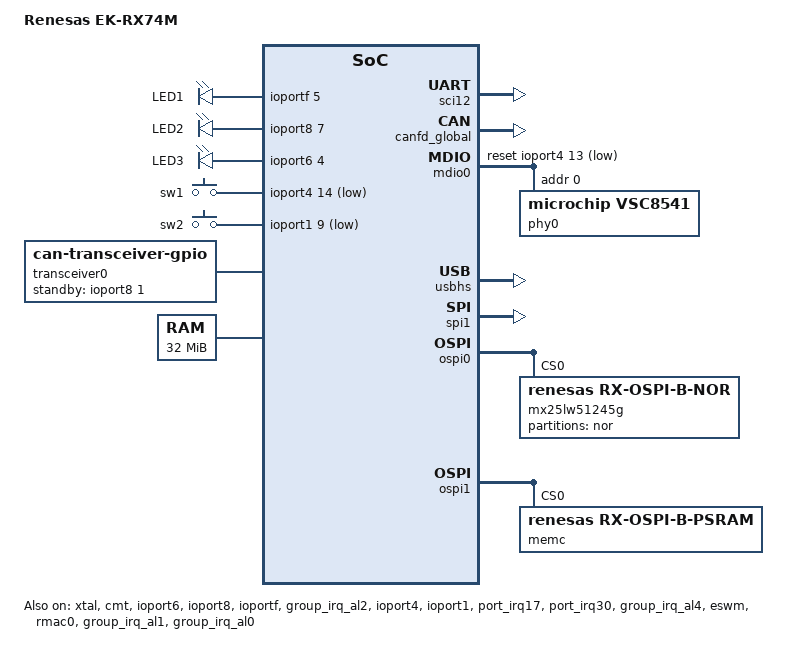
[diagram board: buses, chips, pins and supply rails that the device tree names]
/*
* Copyright (c) 2024 Renesas Electronics Corporation
*
* SPDX-License-Identifier: Apache-2.0
*/

/dts-v1/;

#include <renesas/r5k574x.dtsi>
#include <zephyr/dt-bindings/gpio/gpio.h>
#include <zephyr/dt-bindings/flash_controller/xspi.h>
#include <zephyr/dt-bindings/input/input-event-codes.h>
#include "ek_rx74m-pinctrl.dtsi"
#include <zephyr/dt-bindings/memory-attr/memory-attr.h>

/ {
	model = "Renesas EK-RX74M";
	compatible = "renesas,ek_rx74m";

	chosen {
		zephyr,sram = &sram0;
		zephyr,flash = &code_mram;
		zephyr,console = &uart12;
		zephyr,shell-uart = &uart12;
		zephyr,canbus = &canfd0;
	};

	leds {
		compatible = "gpio-leds";

		led1: led1 {
			gpios = <&ioportf 5 GPIO_ACTIVE_HIGH>;
			label = "LED1";
		};

		led2: led2 {
			gpios = <&ioport8 7 GPIO_ACTIVE_HIGH>;
			label = "LED2";
		};

		led3: led3 {
			gpios = <&ioport6 4 GPIO_ACTIVE_HIGH>;
			label = "LED3";
		};
	};

	buttons {
		compatible = "gpio-keys";

		sw1: sw1 {
			label = "sw1";
			gpios = <&ioport4 14 (GPIO_PULL_UP | GPIO_ACTIVE_LOW)>;
			zephyr,code = <INPUT_KEY_0>;
		};

		sw2: sw2 {
			label = "sw2";
			gpios = <&ioport1 9 (GPIO_PULL_UP | GPIO_ACTIVE_LOW)>;
			zephyr,code = <INPUT_KEY_1>;
		};
	};

	aliases {
		led0 = &led1;
		led1 = &led2;
		led2 = &led3;
		sw0 = &sw1;
		sw1 = &sw2;
	};

	transceiver0: can-phy0 {
		compatible = "can-transceiver-gpio";
		standby-gpios = <&ioport8 1 GPIO_ACTIVE_HIGH>;
		max-bitrate = <5000000>;
		#phy-cells = <0>;
	};

	psram: memory@50000000 {
		compatible = "zephyr,memory-region";
		reg = <0x50000000 DT_SIZE_M(32)>;
		zephyr,memory-region = "PSRAM";
		zephyr,memory-attr = <DT_MEM_CACHEABLE>;
		status = "okay";
	};
};

&xtal {
	clock-frequency = <DT_FREQ_M(24)>;
	mosel = <0>;
	#clock-cells = <0>;
	status = "okay";
};

&subclk {
	status = "okay";
};

&pll {
	status = "okay";
	freq = <DT_FREQ_M(1200)>;

	pllp: pllp {
		div = <3>;
		freq = <DT_FREQ_M(400)>;
		status = "okay";
	};

	pllq: pllq {
		div = <4>;
		freq = <DT_FREQ_M(300)>;
		status = "okay";
	};

	pllr: pllr {
		div = <5>;
		freq = <DT_FREQ_M(240)>;
		status = "okay";
	};
};

&pll2 {
	status = "okay";

	/* PLL */
	clocks = <&xtal>;
	div = <3>;
	mul = <125 0>;
	freq = <DT_FREQ_M(1000)>;

	pll2p: pll2p {
		div = <2>;
		freq = <DT_FREQ_M(500)>;
		status = "okay";
	};
};

&uclk {
	clocks = <&pllr>;
	div = <5>;
	status = "okay";
};

&usb60clk {
	clocks = <&pllr>;
	div = <4>;
	status = "okay";
};

&sciclk {
	clocks = <&pllp>;
	status = "okay";
};

&octaspiclk {
	clocks = <&pllp>;
	div = <3>;
	status = "okay";
};

&cmt {
	clock-frequency = <6250000>;
	status = "okay";
};

&eswclk {
	compatible = "renesas,rx-cgc-pclk";
	clocks = <&pllq>;
	div = <2>;
	#clock-cells = <2>;
	status = "okay";
};

&eswphyclk {
	compatible = "renesas,rx-cgc-pclk";
	clocks = <&pll2p>;
	div = <1>;
	#clock-cells = <2>;
	status = "okay";
};

&ethphyclk {
	compatible = "renesas,rx-cgc-pclk";
	clocks = <&pllp>;
	div = <16>;
	#clock-cells = <2>;
	status = "okay";
};

&sci12 {
	pinctrl-0 = <&sci12_default>;
	pinctrl-names = "default";
	status = "okay";

	uart12: uart {
		current-speed = <115200>;
		status = "okay";
	};
};

&sci1 {
	pinctrl-0 = <&sci1_default>;
	pinctrl-names = "default";

	i2c1: i2c {
		sda-output-delay = <300>;
		noise-filter-clock-select = <1>;
		bit-rate-modulation;
	};
};

&ioport6 {
	status = "okay";
};

&ioport8 {
	status = "okay";
};

&ioportf {
	status = "okay";
};

&canfdclk {
	clocks = <&pllp>;
	div = <5>;
	status = "okay";
};

&group_irq_al2 {
	status = "okay";
};

&canfd_global {
	status = "okay";

	canfd0: canfd0 {
		pinctrl-0 = <&canfd0_default>;
		pinctrl-names = "default";
		rx-max-filters = <64>;
		phys = <&transceiver0>;
		status = "okay";
	};
};

&ioport4 {
	status = "okay";
};

&ioport1 {
	status = "okay";
};

&port_irq17 {
	status = "okay";
};

&port_irq30 {
	status = "okay";
};

&group_irq_al4 {
	status = "okay";
};

&eswm {
	status = "okay";
};

&rmac0 {
	pinctrl-0 = <&rmac0_default>;
	pinctrl-names = "default";
	local-mac-address = [74 90 50 A8 60 6A];
	phy-handle = <&phy0>;
	status = "okay";
};

&rmac1 {
	pinctrl-0 = <&rmac1_default>;
	pinctrl-names = "default";
	local-mac-address = [74 90 50 A8 60 6D];
	phy-handle = <&phy1>;
	status = "disabled";
};

&mdio0 {
	pinctrl-0 = <&mdio_default>;
	pinctrl-names = "default";
	reset-gpios = <&ioport4 13 GPIO_ACTIVE_LOW>;
	status = "okay";

	phy0: ethernet-phy@0 {
		compatible = "microchip,vsc8541";
		reg = <0x0>;
		status = "okay";

		microchip,interface-type = "gmii";
		microchip,rgmii-tx-clk-delay = <0x4>;
		microchip,rgmii-rx-clk-delay = <0x4>;
	};

	phy1: ethernet-phy@1 {
		compatible = "microchip,vsc8541";
		reg = <0x1>;
		status = "disabled";

		microchip,interface-type = "gmii";
		microchip,rgmii-tx-clk-delay = <0x4>;
		microchip,rgmii-rx-clk-delay = <0x4>;
	};
};

&usbhs {
	pinctrl-0 = <&usbhs_default>;
	pinctrl-names = "default";
	maximum-speed = "high-speed";
	status = "okay";

	zephyr_udc0: udc {
		status = "okay";
	};
};

&usbfs {
	pinctrl-0 = <&usbfs_default>;
	pinctrl-names = "default";
	maximum-speed = "full-speed";
};

&usbhs_phy {
	phys-clock-src = "xtal";
};

&group_irq_al1 {
	status = "okay";
};

&group_irq_al0 {
	status = "okay";
};

&spi1 {
	pinctrl-0 = <&spi1_default>;
	pinctrl-names = "default";
	status = "okay";
};

&data_mram {
	partitions {
		compatible = "fixed-partitions";
		#address-cells = <1>;
		#size-cells = <1>;

		storage_partition: partition@0 {
			label = "storage";
			reg = <0x0 DT_SIZE_K(48)>;
		};
	};
};

&ospi0 {
	pinctrl-0 = <&xspi0_default>;
	pinctrl-names = "default";
	status = "okay";

	mx25lw51245g: ospi-nor-flash@0 {
		compatible = "renesas,rx-ospi-b-nor";
		reg = <0>;
		size = <DT_SIZE_M(64)>; /* 512 Megabits = 64 Megabytes */
		ospi-max-frequency = <DT_FREQ_M(133)>;
		protocol-mode = <XSPI_OCTO_MODE>;
		data-rate = <XSPI_DTR_TRANSFER>;
		write-block-size = <2>;
		output-assert-delay = "ASSERTION_DELAY_ENABLE";
		status = "okay";

		partitions {
			compatible = "fixed-partitions";
			#address-cells = <1>;
			#size-cells = <1>;

			partition@0 {
				label = "nor";
				reg = <0x00000000 DT_SIZE_M(4)>;
			};
		};
	};
};

&ospi1 {
	pinctrl-0 = <&xspi1_default>;
	pinctrl-names = "default";
	status = "okay";

	memc: is66wvo32m8d: memory@0 {
		compatible = "renesas,rx-ospi-b-psram";
		variable-latency;
		reg = <0>;
		size = <DT_SIZE_M(32)>; /* 32 Megabytes */
		ospi-max-frequency = <DT_FREQ_M(200)>;
		status = "okay";
	};
};
